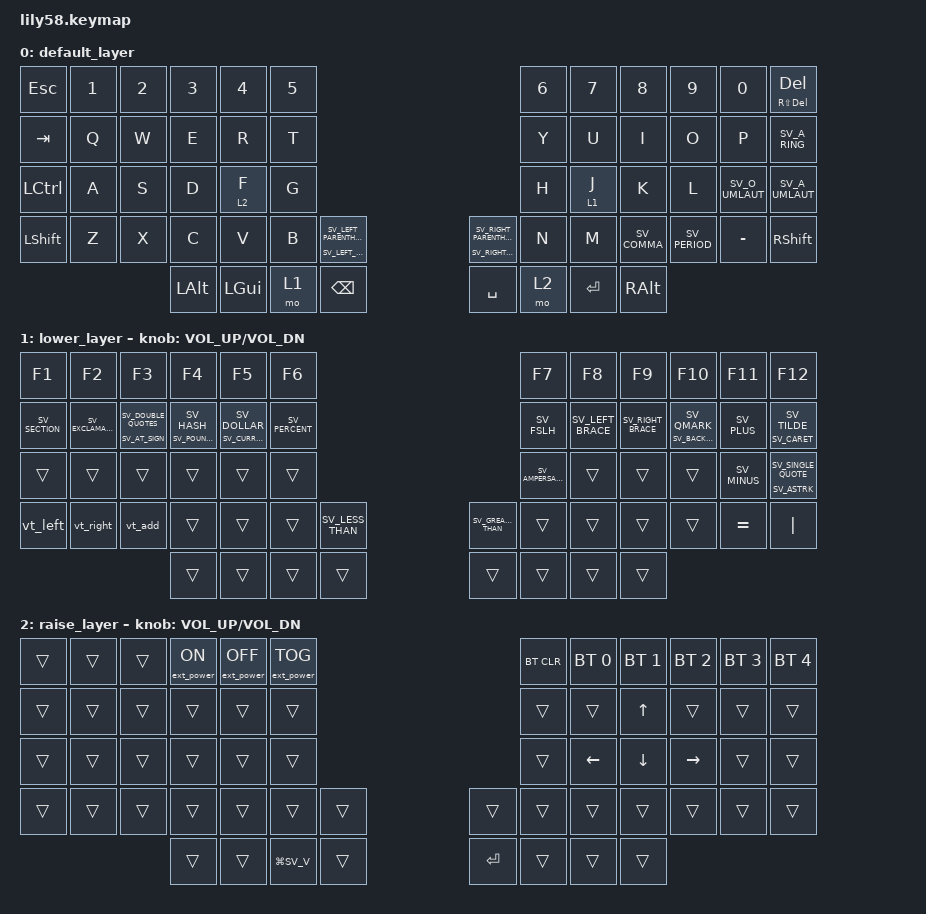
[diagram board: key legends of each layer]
/*
 * Copyright (c) 2020 The ZMK Contributors
 *
 * SPDX-License-Identifier: MIT
 */

#include "keys_sv.h"
#include <behaviors.dtsi>
#include <dt-bindings/zmk/bt.h>
#include <dt-bindings/zmk/ext_power.h>
#include <dt-bindings/zmk/keys.h>

/ {
    macros {
        vt_left: vt_left {
            compatible = "zmk,behavior-macro";
            #binding-cells = <0>;
            bindings = <&kp LG(LC(LEFT_ARROW))>;
            label = "VT_LEFT";
        };

        vt_right: vt_right {
            compatible = "zmk,behavior-macro";
            #binding-cells = <0>;
            bindings = <&kp LG(LC(RIGHT_ARROW))>;
            label = "VT_RIGHT";
        };

        vt_add: vt_add {
            compatible = "zmk,behavior-macro";
            #binding-cells = <0>;
            bindings = <&kp LG(LC(D))>;
            label = "VT_ADD";
        };
    };

    keymap {
        compatible = "zmk,keymap";

        default_layer {
            // ------------------------------------------------------------------------------------------------------------
            // |  ESC  |  1  |  2  |  3   |  4   |  5   |                   |  6   |  7    |  8    |  9   |   0   |   `   |
            // |  TAB  |  Q  |  W  |  E   |  R   |  T   |                   |  Y   |  U    |  I    |  O   |   P   |   -   |
            // |  CTRL |  A  |  S  |  D   |  F   |  G   |                   |  H   |  J    |  K    |  L   |   ;   |   '   |
            // | SHIFT |  Z  |  X  |  C   |  V   |  B   |   "["  |  |  "]"  |  N   |  M    |  ,    |  .   |   /   | SHIFT |
            //                     | ALT  | GUI  | LOWER|  SPACE |  | ENTER | RAISE| BSPC  | GUI   |

            bindings = <
&kp ESC    &kp N1  &kp N2  &kp N3    &kp N4    &kp N5                                                                                        &kp N6  &kp N7     &kp N8         &kp N9         &kp N0           &mt RS(DELETE) DELETE
&kp TAB    &kp Q   &kp W   &kp E     &kp R     &kp T                                                                                         &kp Y   &kp U      &kp I          &kp O          &kp P            &kp SV_A_RING
&kp LCTRL  &kp A   &kp S   &kp D     &lt 2 F   &kp G                                                                                         &kp H   &lt 1 J    &kp K          &kp L          &kp SV_O_UMLAUT  &kp SV_A_UMLAUT
&kp LSHFT  &kp Z   &kp X   &kp C     &kp V     &kp B   &mt SV_LEFT_BRACKET SV_LEFT_PARENTHESIS    &mt SV_RIGHT_BRACKET SV_RIGHT_PARENTHESIS  &kp N   &kp M      &kp SV_COMMA   &kp SV_PERIOD  &kp MINUS        &kp RSHFT
                           &kp LALT  &kp LGUI  &mo 1   &kp BACKSPACE                              &kp SPACE                                  &mo 2   &kp ENTER  &kp RIGHT_ALT
            >;
        };

        lower_layer {
            // ------------------------------------------------------------------------------------------------------------
            // | BTCLR | BT1 | BT2 |  BT3 |  BT4 |  BT5 |                   |      |       |       |      |       |       |
            // |  F1   |  F2 |  F3 |  F4  |  F5  |  F6  |                   |  F7  |  F8   |  F9   |  F10 |  F11  |  F12  |
            // |   `   |  !  |  @  |  #   |  $   |  %   |                   |  ^   |  &    |  *    |  (   |   )   |   ~   |
            // |       |     |     |      |      |      |        |  |       |      |  _    |  +    |  {   |   }   |  "|"  |
            //                     |      |      |      |        |  |       |      |       |       |

            bindings = <
&kp F1          &kp F2              &kp F3                           &kp F4                     &kp F5                          &kp F6                                                   &kp F7            &kp F8             &kp F9              &kp F10                    &kp F11       &kp F12
&kp SV_SECTION  &kp SV_EXCLAMATION  &mt SV_AT_SIGN SV_DOUBLE_QUOTES  &mt SV_POUND_SIGN SV_HASH  &mt SV_CURRENCY_SIGN SV_DOLLAR  &kp SV_PERCENT                                           &kp SV_FSLH       &kp SV_LEFT_BRACE  &kp SV_RIGHT_BRACE  &mt SV_BACKSLASH SV_QMARK  &kp SV_PLUS   &mt SV_CARET SV_TILDE
&trans          &trans              &trans                           &trans                     &trans                          &trans                                                   &kp SV_AMPERSAND  &trans             &trans              &trans                     &kp SV_MINUS  &mt SV_ASTRK SV_SINGLE_QUOTE
&vt_left        &vt_right           &vt_add                          &trans                     &trans                          &trans          &kp SV_LESS_THAN    &kp SV_GREATER_THAN  &trans            &trans             &trans              &trans                     &kp EQUAL     &kp PIPE
                                                                     &trans                     &trans                          &trans          &trans              &trans               &trans            &trans             &trans
            >;

            sensor-bindings = <&inc_dec_kp C_VOL_UP C_VOL_DN>;
        };

        raise_layer {
            // ------------------------------------------------------------------------------------------------------------
            // |       |     |     |      |      |      |                   |      |       |       |      |       |       |
            // |   `   |  1  |  2  |  3   |  4   |  5   |                   |  6   |   7   |   8   |  9   |   0   |       |
            // |   F1  |  F2 |  F3 |  F4  |  F5  |  F6  |                   |      |   <-  |   v   |  ^   |  ->   |       |
            // |   F7  |  F8 |  F9 |  F10 |  F11 |  F12 |        |  |       |  +   |   -   |   =   |  [   |   ]   |   \   |
            //                     |      |      |      |        |  |       |      |       |       |

            bindings = <
&trans  &trans  &trans  &ext_power EP_ON  &ext_power EP_OFF  &ext_power EP_TOG                       &bt BT_CLR  &bt BT_SEL 0  &bt BT_SEL 1  &bt BT_SEL 2  &bt BT_SEL 3  &bt BT_SEL 4
&trans  &trans  &trans  &trans            &trans             &trans                                  &trans      &trans        &kp UP        &trans        &trans        &trans
&trans  &trans  &trans  &trans            &trans             &trans                                  &trans      &kp LEFT      &kp DOWN      &kp RIGHT     &trans        &trans
&trans  &trans  &trans  &trans            &trans             &trans             &trans    &trans     &trans      &trans        &trans        &trans        &trans        &trans
                        &trans            &trans             &kp LG(SV_V)       &trans    &kp ENTER  &trans      &trans        &trans
            >;

            sensor-bindings = <&inc_dec_kp C_VOL_UP C_VOL_DN>;
        };
    };
};
